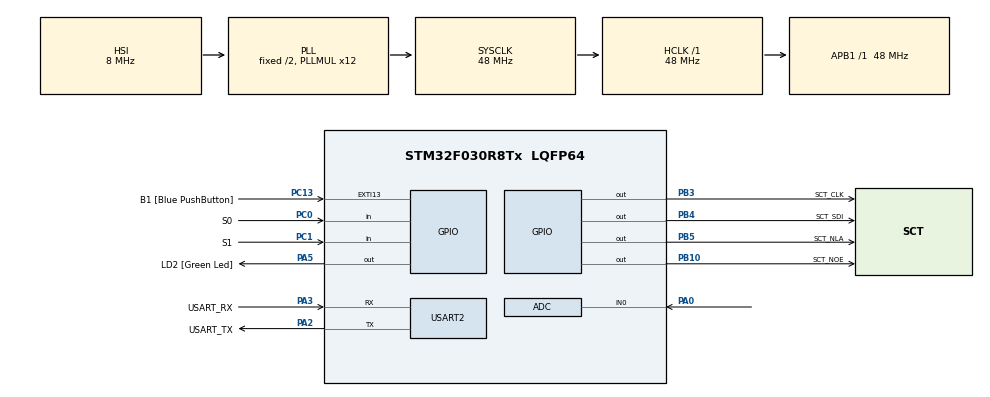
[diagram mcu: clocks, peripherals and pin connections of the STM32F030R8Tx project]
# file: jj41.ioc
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ADC.ContinuousConvMode=ENABLE
ADC.Overrun=ADC_OVR_DATA_OVERWRITTEN
ADC.SamplingTime=ADC_SAMPLETIME_239CYCLES_5
Mcu.Family=STM32F0
Mcu.Name=STM32F030R8Tx
Mcu.Package=LQFP64
NVIC.ADC1_IRQn=true\:0\:0\:false\:false\:true\:true\:true\:true
PA0.Mode=IN0
PA0.Signal=ADC_IN0
PA13.GPIO_Label=TMS
PA13.Mode=Serial_Wire
PA13.Signal=SYS_SWDIO
PA14.GPIO_Label=TCK
PA14.Mode=Serial_Wire
PA14.Signal=SYS_SWCLK
PA2.GPIO_Label=USART_TX
PA2.GPIO_Mode=GPIO_MODE_AF_PP
PA2.GPIO_PuPd=GPIO_NOPULL
PA2.GPIO_Speed=GPIO_SPEED_FREQ_LOW
PA2.Mode=Asynchronous
PA2.Signal=USART2_TX
PA3.GPIO_Label=USART_RX
PA3.GPIO_Mode=GPIO_MODE_AF_PP
PA3.GPIO_PuPd=GPIO_NOPULL
PA3.GPIO_Speed=GPIO_SPEED_FREQ_LOW
PA3.Mode=Asynchronous
PA3.Signal=USART2_RX
PA5.GPIO_Label=LD2 [Green Led]
PA5.GPIO_Mode=GPIO_MODE_OUTPUT_PP
PA5.GPIO_PuPd=GPIO_NOPULL
PA5.GPIO_Speed=GPIO_SPEED_FREQ_LOW
PA5.Signal=GPIO_Output
PB10.GPIO_Label=SCT_NOE
PB10.Signal=GPIO_Output
PB3.GPIO_Label=SCT_CLK
PB3.Signal=GPIO_Output
PB4.GPIO_Label=SCT_SDI
PB4.Signal=GPIO_Output
PB5.GPIO_Label=SCT_NLA
PB5.Signal=GPIO_Output
PC0.GPIO_Label=S0
PC0.GPIO_PuPd=GPIO_PULLUP
PC0.Signal=GPIO_Input
PC1.GPIO_Label=S1
PC1.GPIO_PuPd=GPIO_PULLUP
PC1.Signal=GPIO_Input
PC13.GPIO_Label=B1 [Blue PushButton]
PC13.GPIO_ModeDefaultEXTI=GPIO_MODE_IT_FALLING
PC13.Signal=GPXTI13
PC14-OSC32_IN.Mode=LSE-External-Oscillator
PC14-OSC32_IN.Signal=RCC_OSC32_IN
PC15-OSC32_OUT.Mode=LSE-External-Oscillator
PC15-OSC32_OUT.Signal=RCC_OSC32_OUT
PF0-OSC_IN.Mode=HSE-External-Clock-Source
PF0-OSC_IN.Signal=RCC_OSC_IN
PF1-OSC_OUT.Signal=RCC_OSC_OUT
ProjectManager.HeapSize=0x200
ProjectManager.StackSize=0x400
ProjectManager.TargetToolchain=STM32CubeIDE
RCC.AHBFreq_Value=48000000
RCC.APB1Freq_Value=48000000
RCC.APB1TimFreq_Value=48000000
RCC.HCLKFreq_Value=48000000
RCC.PLLMUL=RCC_PLL_MUL12
RCC.SYSCLKFreq_VALUE=48000000
RCC.SYSCLKSource=RCC_SYSCLKSOURCE_PLLCLK
USART2.VirtualMode-Asynchronous=VM_ASYNC
VP_ADC_TempSens_Input.Mode=IN-TempSens
VP_ADC_Vref_Input.Mode=IN-Vrefint
board=NUCLEO-F030R8

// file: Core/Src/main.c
/* USER CODE BEGIN Header */
/**
 ******************************************************************************
 * @file           : main.c
 * @brief          : Main program body
 ******************************************************************************
 * @attention
 *
 * Copyright (c) 2024 STMicroelectronics.
 * All rights reserved.
 *
 * This software is licensed under terms that can be found in the LICENSE file
 * in the root directory of this software component.
 * If no LICENSE file comes with this software, it is provided AS-IS.
 *
 ******************************************************************************
 */
/* USER CODE END Header */
#include "main.h"

/* USER CODE BEGIN Includes */
#include "sct.h"
/* USER CODE END Includes */

/* USER CODE BEGIN PD */
#define ADC_Q 14
/* Temperature sensor calibration value address */
#define TEMP110_CAL_ADDR ((uint16_t*) ((uint32_t) 0x1FFFF7C2))
#define TEMP30_CAL_ADDR ((uint16_t*) ((uint32_t) 0x1FFFF7B8))
/* Internal voltage reference calibration value address */
#define VREFINT_CAL_ADDR ((uint16_t*) ((uint32_t) 0x1FFFF7BA))
/* USER CODE END PD */

ADC_HandleTypeDef hadc;

UART_HandleTypeDef huart2;

/* USER CODE BEGIN PV */
static volatile uint32_t raw_pot;
static volatile uint32_t raw_volt;
static volatile uint32_t raw_temp;
/* USER CODE END PV */

void SystemClock_Config(void);
static void MX_GPIO_Init(void);
static void MX_USART2_UART_Init(void);
static void MX_ADC_Init(void);

/* USER CODE BEGIN 0 */
void HAL_ADC_ConvCpltCallback(ADC_HandleTypeDef* hadc)
{
	/*raw_pot = HAL_ADC_GetValue(hadc);*/

	static uint8_t channel = 0;
	static uint32_t avg_pot;
	switch (channel){
	case 0: //INO - Potenciometer
		raw_pot = avg_pot >> ADC_Q;
		avg_pot -= raw_pot;
		avg_pot += HAL_ADC_GetValue(hadc);
	case 1: // //Temperature
		raw_temp = HAL_ADC_GetValue(hadc);
		break;
	case 2: // //VOLT
		raw_volt = HAL_ADC_GetValue(hadc);
		break;

	default:
		break;
	}

	if (__HAL_ADC_GET_FLAG(hadc, ADC_FLAG_EOS)) channel = 0;
	else channel++;

}
/* USER CODE END 0 */

int main(void)
{

	/* MCU Configuration--------------------------------------------------------*/

	/* Reset of all peripherals, Initializes the Flash interface and the Systick. */
	HAL_Init();

	/* Configure the system clock */
	SystemClock_Config();

	/* Initialize all configured peripherals */
	MX_GPIO_Init();
	MX_USART2_UART_Init();
	MX_ADC_Init();
	/* USER CODE BEGIN 2 */
	HAL_ADCEx_Calibration_Start(&hadc);
	HAL_ADC_Start_IT(&hadc);
	/* USER CODE END 2 */

	/* Infinite loop */
	/* USER CODE BEGIN WHILE */
	while (1)
	{
		static enum { SHOW_POT, SHOW_VOLT, SHOW_TEMP } state = SHOW_POT;
		static uint32_t time;
		if (HAL_GPIO_ReadPin(S0_GPIO_Port,S0_Pin)==0){
			state=SHOW_TEMP;
			time= HAL_GetTick();
		}
		if (HAL_GPIO_ReadPin(S1_GPIO_Port,S1_Pin)==0){
			state=SHOW_VOLT;
			time= HAL_GetTick();
		}
		if (HAL_GetTick()>(time+2000)){
			state=SHOW_POT;
		}
		switch (state){
		case SHOW_POT:
			sct_value((raw_pot*500.5)/4095,(raw_pot*9)/4095);
			break;
		case SHOW_VOLT:
			uint32_t voltage = 330 * (*VREFINT_CAL_ADDR) / raw_volt;
			sct_value(voltage,0);
			break;
		case SHOW_TEMP:
			int32_t temperature = (raw_temp - (int32_t)(*TEMP30_CAL_ADDR));
			temperature = temperature * (int32_t)(110 - 30);
			temperature = temperature / (int32_t)(*TEMP110_CAL_ADDR - *TEMP30_CAL_ADDR);
			temperature = temperature + 30;
			sct_value(temperature,0);
			break;
		default: //SHOW_TEMP
			break;
		}
		/* sct_value((raw_pot*500)/4095);
uint32_t pot = (raw_pot*500)/4095;
		sct_value(pot);
	  HAL_Delay(50);*/
		/* USER CODE END WHILE */

	}
}

void SystemClock_Config(void)
{
	RCC_OscInitTypeDef RCC_OscInitStruct = {0};
	RCC_ClkInitTypeDef RCC_ClkInitStruct = {0};

	/** Initializes the RCC Oscillators according to the specified parameters
	 * in the RCC_OscInitTypeDef structure.
	 */
	RCC_OscInitStruct.OscillatorType = RCC_OSCILLATORTYPE_HSI|RCC_OSCILLATORTYPE_HSI14;
	RCC_OscInitStruct.HSIState = RCC_HSI_ON;
	RCC_OscInitStruct.HSI14State = RCC_HSI14_ON;
	RCC_OscInitStruct.HSICalibrationValue = RCC_HSICALIBRATION_DEFAULT;
	RCC_OscInitStruct.HSI14CalibrationValue = 16;
	RCC_OscInitStruct.PLL.PLLState = RCC_PLL_ON;
	RCC_OscInitStruct.PLL.PLLSource = RCC_PLLSOURCE_HSI;
	RCC_OscInitStruct.PLL.PLLMUL = RCC_PLL_MUL12;
	RCC_OscInitStruct.PLL.PREDIV = RCC_PREDIV_DIV1;
	if (HAL_RCC_OscConfig(&RCC_OscInitStruct) != HAL_OK)
	{
		Error_Handler();
	}

	/** Initializes the CPU, AHB and APB buses clocks
	 */
	RCC_ClkInitStruct.ClockType = RCC_CLOCKTYPE_HCLK|RCC_CLOCKTYPE_SYSCLK
			|RCC_CLOCKTYPE_PCLK1;
	RCC_ClkInitStruct.SYSCLKSource = RCC_SYSCLKSOURCE_PLLCLK;
	RCC_ClkInitStruct.AHBCLKDivider = RCC_SYSCLK_DIV1;
	RCC_ClkInitStruct.APB1CLKDivider = RCC_HCLK_DIV1;

	if (HAL_RCC_ClockConfig(&RCC_ClkInitStruct, FLASH_LATENCY_1) != HAL_OK)
	{
		Error_Handler();
	}
}

static void MX_ADC_Init(void)
{

	ADC_ChannelConfTypeDef sConfig = {0};

	/** Configure the global features of the ADC (Clock, Resolution, Data Alignment and number of conversion)
	 */
	hadc.Instance = ADC1;
	hadc.Init.ClockPrescaler = ADC_CLOCK_ASYNC_DIV1;
	hadc.Init.Resolution = ADC_RESOLUTION_12B;
	hadc.Init.DataAlign = ADC_DATAALIGN_RIGHT;
	hadc.Init.ScanConvMode = ADC_SCAN_DIRECTION_FORWARD;
	hadc.Init.EOCSelection = ADC_EOC_SINGLE_CONV;
	hadc.Init.LowPowerAutoWait = DISABLE;
	hadc.Init.LowPowerAutoPowerOff = DISABLE;
	hadc.Init.ContinuousConvMode = ENABLE;
	hadc.Init.DiscontinuousConvMode = DISABLE;
	hadc.Init.ExternalTrigConv = ADC_SOFTWARE_START;
	hadc.Init.ExternalTrigConvEdge = ADC_EXTERNALTRIGCONVEDGE_NONE;
	hadc.Init.DMAContinuousRequests = DISABLE;
	hadc.Init.Overrun = ADC_OVR_DATA_OVERWRITTEN;
	if (HAL_ADC_Init(&hadc) != HAL_OK)
	{
		Error_Handler();
	}

	/** Configure for the selected ADC regular channel to be converted.
	 */
	sConfig.Channel = ADC_CHANNEL_0;
	sConfig.Rank = ADC_RANK_CHANNEL_NUMBER;
	sConfig.SamplingTime = ADC_SAMPLETIME_239CYCLES_5;
	if (HAL_ADC_ConfigChannel(&hadc, &sConfig) != HAL_OK)
	{
		Error_Handler();
	}

	/** Configure for the selected ADC regular channel to be converted.
	 */
	sConfig.Channel = ADC_CHANNEL_TEMPSENSOR;
	if (HAL_ADC_ConfigChannel(&hadc, &sConfig) != HAL_OK)
	{
		Error_Handler();
	}

	/** Configure for the selected ADC regular channel to be converted.
	 */
	sConfig.Channel = ADC_CHANNEL_VREFINT;
	if (HAL_ADC_ConfigChannel(&hadc, &sConfig) != HAL_OK)
	{
		Error_Handler();
	}

}

static void MX_USART2_UART_Init(void)
{

	huart2.Instance = USART2;
	huart2.Init.BaudRate = 38400;
	huart2.Init.WordLength = UART_WORDLENGTH_8B;
	huart2.Init.StopBits = UART_STOPBITS_1;
	huart2.Init.Parity = UART_PARITY_NONE;
	huart2.Init.Mode = UART_MODE_TX_RX;
	huart2.Init.HwFlowCtl = UART_HWCONTROL_NONE;
	huart2.Init.OverSampling = UART_OVERSAMPLING_16;
	huart2.Init.OneBitSampling = UART_ONE_BIT_SAMPLE_DISABLE;
	huart2.AdvancedInit.AdvFeatureInit = UART_ADVFEATURE_NO_INIT;
	if (HAL_UART_Init(&huart2) != HAL_OK)
	{
		Error_Handler();
	}

}

static void MX_GPIO_Init(void)
{
	GPIO_InitTypeDef GPIO_InitStruct = {0};

	/* GPIO Ports Clock Enable */
	__HAL_RCC_GPIOC_CLK_ENABLE();
	__HAL_RCC_GPIOF_CLK_ENABLE();
	__HAL_RCC_GPIOA_CLK_ENABLE();
	__HAL_RCC_GPIOB_CLK_ENABLE();

	/*Configure GPIO pin Output Level */
	HAL_GPIO_WritePin(LD2_GPIO_Port, LD2_Pin, GPIO_PIN_RESET);

	/*Configure GPIO pin Output Level */
	HAL_GPIO_WritePin(GPIOB, SCT_NOE_Pin|SCT_CLK_Pin|SCT_SDI_Pin|SCT_NLA_Pin, GPIO_PIN_RESET);

	/*Configure GPIO pin : B1_Pin */
	GPIO_InitStruct.Pin = B1_Pin;
	GPIO_InitStruct.Mode = GPIO_MODE_IT_FALLING;
	GPIO_InitStruct.Pull = GPIO_NOPULL;
	HAL_GPIO_Init(B1_GPIO_Port, &GPIO_InitStruct);

	/*Configure GPIO pins : S0_Pin S1_Pin */
	GPIO_InitStruct.Pin = S0_Pin|S1_Pin;
	GPIO_InitStruct.Mode = GPIO_MODE_INPUT;
	GPIO_InitStruct.Pull = GPIO_PULLUP;
	HAL_GPIO_Init(GPIOC, &GPIO_InitStruct);

	/*Configure GPIO pin : LD2_Pin */
	GPIO_InitStruct.Pin = LD2_Pin;
	GPIO_InitStruct.Mode = GPIO_MODE_OUTPUT_PP;
	GPIO_InitStruct.Pull = GPIO_NOPULL;
	GPIO_InitStruct.Speed = GPIO_SPEED_FREQ_LOW;
	HAL_GPIO_Init(LD2_GPIO_Port, &GPIO_InitStruct);

	/*Configure GPIO pins : SCT_NOE_Pin SCT_CLK_Pin SCT_SDI_Pin SCT_NLA_Pin */
	GPIO_InitStruct.Pin = SCT_NOE_Pin|SCT_CLK_Pin|SCT_SDI_Pin|SCT_NLA_Pin;
	GPIO_InitStruct.Mode = GPIO_MODE_OUTPUT_PP;
	GPIO_InitStruct.Pull = GPIO_NOPULL;
	GPIO_InitStruct.Speed = GPIO_SPEED_FREQ_LOW;
	HAL_GPIO_Init(GPIOB, &GPIO_InitStruct);

}

void Error_Handler(void)
{
	__disable_irq();
	while (1)
	{
	}
}
